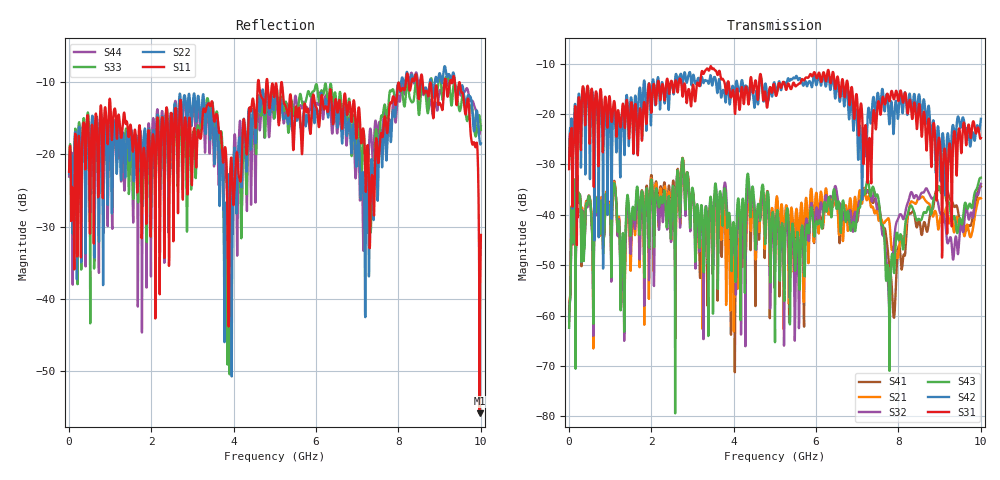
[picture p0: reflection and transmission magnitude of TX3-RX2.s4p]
# Hz S  RI  R 50
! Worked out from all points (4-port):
!   1601 points, 10 MHz to 10 GHz, reference 50 ohm
!   strongest paths, dB at 10 MHz, 2.507 GHz, 5.005 GHz, 7.503 GHz, 10 GHz:
!     S31: -30.9, -13.7, -15.6, -17.7, -24.8
!     S42: -30.2, -14.4, -14.1, -15.8, -21.0
!     S43: -62.4, -37.3, -65.3, -36.3, -32.6
!     S32: -61.1, -39.3, -49.8, -38.6, -33.9
!     S21: -58.6, -39.3, -42.9, -40.3, -36.7
!     S41: -60.2, -37.5, -47.8, -37.8, -34.4
!   lowest |S11| = -55.9 dB at 9.969 GHz (marker M1), VSWR 1.00, Z = 50 - j0.158 ohm
!   |S11| at or under -10 dB: start of sweep to 4.59 GHz; 5.169 GHz to 8.179 GHz (3.01 GHz wide, 45.1 % of centre); 8.588 GHz to 9.117 GHz (528.8 MHz wide, 5.97 % of centre)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
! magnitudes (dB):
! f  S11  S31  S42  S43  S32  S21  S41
! 10 MHz  -22.4  -30.9  -30.2  -62.4  -61.1  -58.6  -60.2
! 241 MHz  -17.6  -16.8  -16.1  -35.8  -35.9  -35.8  -35.7
! 3.962 GHz  -22.1  -16.0  -14.6  -47.7  -48.2  -47.9  -46.5
! 7.247 GHz  -18.8  -32.7  -21.6  -33.1  -35.5  -36.9  -35.2
! 7.89 GHz  -12.1  -17.1  -23.1  -51.4  -45.8  -46.2  -60.4
! 9.969 GHz  -55.9  -24.3  -23.1  -32.8  -34.8  -36.6  -34.6
! 10 GHz  -31.2  -24.8  -21.0  -32.6  -33.9  -36.7  -34.4
